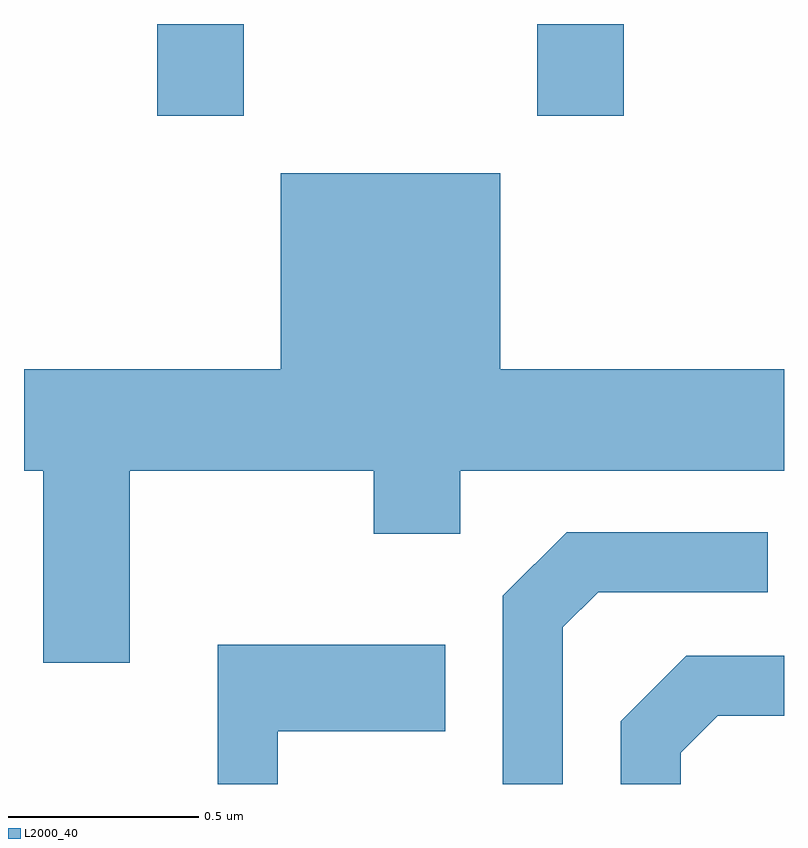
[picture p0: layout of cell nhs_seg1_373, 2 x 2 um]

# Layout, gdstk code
import gdstk
lib = gdstk.Library(unit=1e-6, precision=1e-09)
def R(c, l, rs):  # rectangles x0, y0, x1, y1
    for r in rs: c.add(gdstk.rectangle(r[:2], r[2:], *l))
def P(c, l, *ps):  # polygons
    for p in ps: c.add(gdstk.Polygon(p, *l))
L2000_40 = (2000, 40)

nhs_seg1_373 = lib.new_cell('nhs_seg1_373')
R(nhs_seg1_373, L2000_40, [(187.961,940.471,188.189,940.712), (188.961,940.471,189.189,940.712)])
P(nhs_seg1_373, L2000_40, [(187.889,939.536),(188.531,939.536),(188.531,939.371),(188.759,939.371),(188.759,939.536),(189.611,939.536),(189.611,939.804),(188.864,939.804),(188.864,940.319),(188.286,940.319),(188.286,939.804),(187.611,939.804),(187.611,939.536),(187.661,939.536),(187.661,939.031),(187.889,939.031)],
  [(189.029,939.124),(189.122,939.216),(189.568,939.216),(189.568,939.374),(189.039,939.374),(188.871,939.207),(188.871,938.712),(189.029,938.712)],
  [(188.279,938.851),(188.719,938.851),(188.719,939.079),(188.121,939.079),(188.121,938.712),(188.279,938.712)],
  [(189.339,938.794),(189.437,938.891),(189.611,938.891),(189.611,939.049),(189.354,939.049),(189.181,938.877),(189.181,938.712),(189.339,938.712)])

lib.write_gds('nhs_seg1_373.gds')
